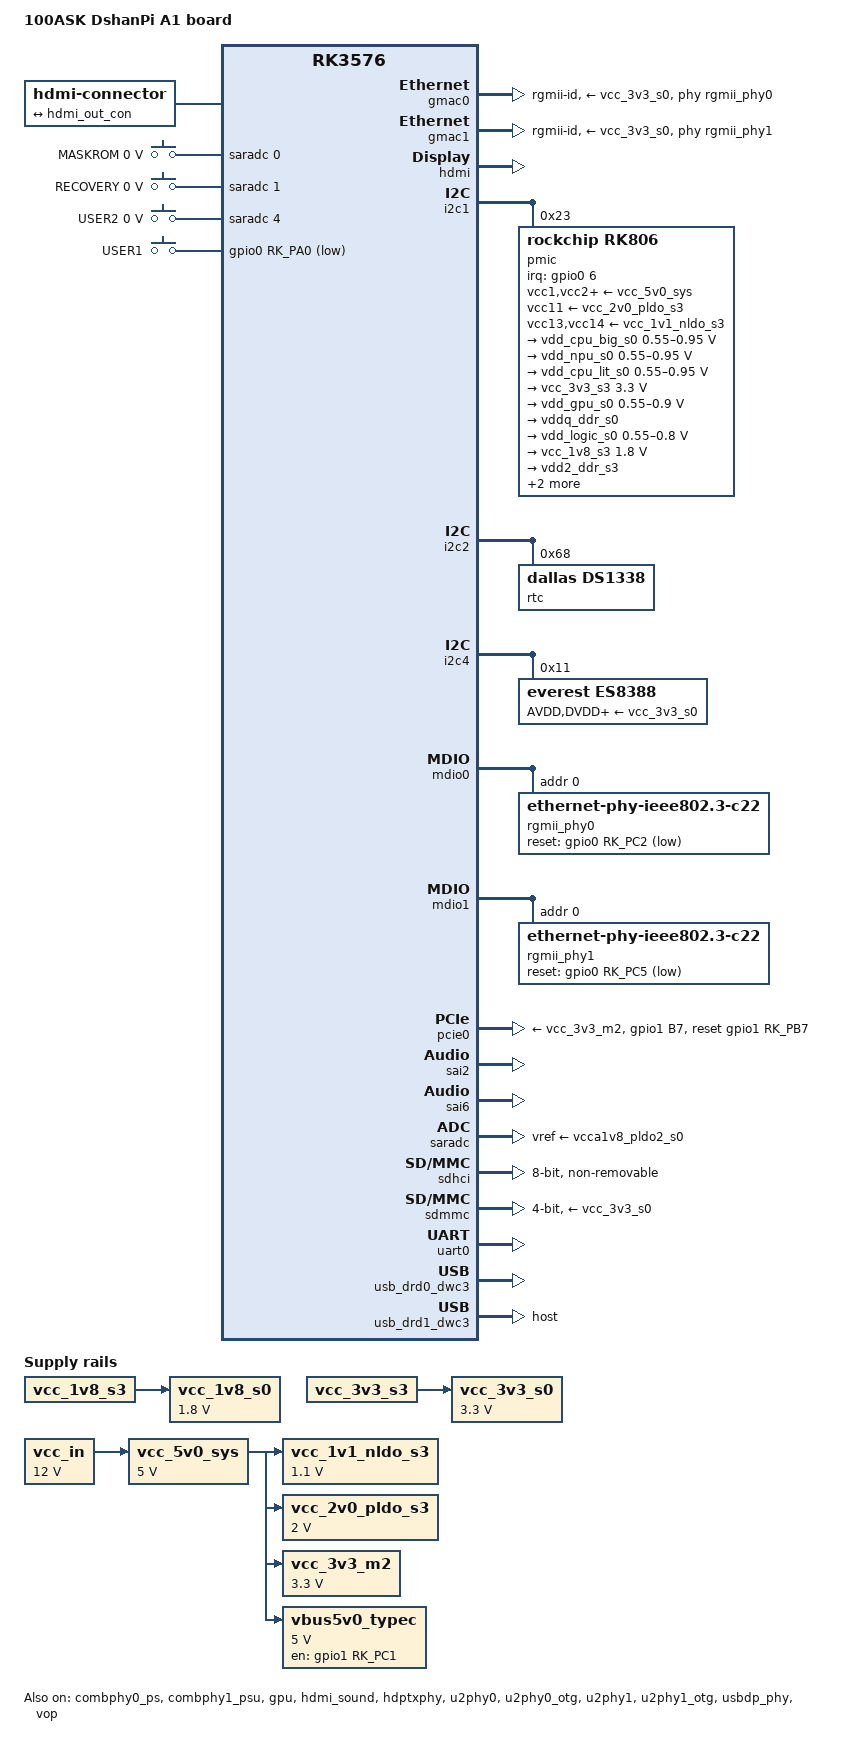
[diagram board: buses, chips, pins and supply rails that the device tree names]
// SPDX-License-Identifier: (GPL-2.0+ OR MIT)
/*
 * Copyright (c) 2025 Rockchip Electronics Co., Ltd.
 *
 */

/dts-v1/;

#include <dt-bindings/gpio/gpio.h>
#include <dt-bindings/input/input.h>
#include <dt-bindings/leds/common.h>
#include <dt-bindings/pinctrl/rockchip.h>
#include <dt-bindings/soc/rockchip,vop2.h>
#include "rk3576.dtsi"

/ {
	model = "100ASK DshanPi A1 board";
	compatible = "100ask,dshanpi-a1", "rockchip,rk3576";

	aliases {
		ethernet0 = &gmac0;
		ethernet1 = &gmac1;
		mmc0 = &sdhci;
		mmc1 = &sdmmc;
	};

	chosen {
		stdout-path = "serial0:1500000n8";
	};

	es8388_sound: es8388-sound {
		compatible = "simple-audio-card";
		simple-audio-card,format = "i2s";
		simple-audio-card,mclk-fs = <256>;
		simple-audio-card,name = "On-board Analog ES8388";
		simple-audio-card,widgets = "Microphone", "Headphone Mic",
					    "Microphone", "Mic Pads",
					    "Headphone", "Headphone",
					    "Line Out", "Line Out";
		simple-audio-card,routing = "Headphone", "LOUT1",
					    "Headphone", "ROUT1",
					    "Line Out", "LOUT2",
					    "Line Out", "ROUT2",
					    "RINPUT1", "Headphone Mic",
					    "LINPUT2", "Mic Pads",
					    "RINPUT2", "Mic Pads";
		simple-audio-card,pin-switches = "Headphone", "Line Out";

		simple-audio-card,cpu {
			sound-dai = <&sai2>;
		};

		simple-audio-card,codec {
			sound-dai = <&es8388>;
			system-clock-frequency = <12288000>;
		};
	};

	hdmi-con {
		compatible = "hdmi-connector";
		type = "a";

		port {
			hdmi_con_in: endpoint {
				remote-endpoint = <&hdmi_out_con>;
			};
		};
	};

	keys-0 {
		compatible = "adc-keys";
		io-channels = <&saradc 0>;
		io-channel-names = "buttons";
		keyup-threshold-microvolt = <1800000>;
		poll-interval = <100>;

		button-maskrom {
			label = "MASKROM";
			linux,code = <KEY_SETUP>;
			press-threshold-microvolt = <0>;
		};
	};

	keys-1 {
		compatible = "adc-keys";
		io-channels = <&saradc 1>;
		io-channel-names = "buttons";
		keyup-threshold-microvolt = <1800000>;
		poll-interval = <100>;

		button-recovery {
			label = "RECOVERY";
			linux,code = <KEY_VENDOR>;
			press-threshold-microvolt = <0>;
		};
	};

	keys-2 {
		compatible = "adc-keys";
		io-channels = <&saradc 4>;
		io-channel-names = "buttons";
		keyup-threshold-microvolt = <1800000>;
		poll-interval = <100>;

		button-user2 {
			label = "USER2";
			linux,code = <BTN_2>;
			press-threshold-microvolt = <0>;
		};
	};

	keys-3 {
		compatible = "gpio-keys";
		pinctrl-names = "default";
		pinctrl-0 = <&gpio0_a0_d>;

		button-user1 {
			gpios = <&gpio0 RK_PA0 GPIO_ACTIVE_LOW>;
			label = "USER1";
			linux,code = <BTN_1>;
			wakeup-source;
		};
	};

	vcc_in: regulator-vcc-12v0-dcin {
		compatible = "regulator-fixed";
		regulator-name = "vcc_in";
		regulator-always-on;
		regulator-boot-on;
		regulator-min-microvolt = <12000000>;
		regulator-max-microvolt = <12000000>;
	};

	vcc_1v1_nldo_s3: regulator-vcc-1v1-nldo-s3 {
		compatible = "regulator-fixed";
		regulator-name = "vcc_1v1_nldo_s3";
		regulator-always-on;
		regulator-boot-on;
		regulator-min-microvolt = <1100000>;
		regulator-max-microvolt = <1100000>;
		vin-supply = <&vcc_5v0_sys>;
	};

	vcc_1v8_s0: regulator-vcc-1v8-s0 {
		compatible = "regulator-fixed";
		regulator-name = "vcc_1v8_s0";
		regulator-always-on;
		regulator-boot-on;
		regulator-min-microvolt = <1800000>;
		regulator-max-microvolt = <1800000>;
		vin-supply = <&vcc_1v8_s3>;
	};

	vcc_2v0_pldo_s3: regulator-vcc-2v0-pldo-s3 {
		compatible = "regulator-fixed";
		regulator-name = "vcc_2v0_pldo_s3";
		regulator-always-on;
		regulator-boot-on;
		regulator-min-microvolt = <2000000>;
		regulator-max-microvolt = <2000000>;
		vin-supply = <&vcc_5v0_sys>;
	};

	vcc_3v3_m2: regulator-vcc-3v3-m2 {
		compatible = "regulator-fixed";
		regulator-name = "vcc_3v3_m2";
		regulator-always-on;
		regulator-boot-on;
		regulator-min-microvolt = <3300000>;
		regulator-max-microvolt = <3300000>;
		vin-supply = <&vcc_5v0_sys>;
	};

	vcc_3v3_s0: regulator-vcc-3v3-s0 {
		compatible = "regulator-fixed";
		regulator-name = "vcc_3v3_s0";
		regulator-always-on;
		regulator-boot-on;
		regulator-min-microvolt = <3300000>;
		regulator-max-microvolt = <3300000>;
		vin-supply = <&vcc_3v3_s3>;
	};

	vcc_5v0_sys: regulator-vcc-5v0-sys {
		compatible = "regulator-fixed";
		regulator-name = "vcc_5v0_sys";
		regulator-always-on;
		regulator-boot-on;
		regulator-min-microvolt = <5000000>;
		regulator-max-microvolt = <5000000>;
		vin-supply = <&vcc_in>;
	};

	vbus5v0_typec: regulator-vbus5v0-typec {
		compatible = "regulator-fixed";
		enable-active-high;
		gpios = <&gpio1 RK_PC1 GPIO_ACTIVE_HIGH>;
		pinctrl-names = "default";
		pinctrl-0 = <&typec5v_pwren_h>;
		regulator-name = "vbus5v0_typec";
		regulator-min-microvolt = <5000000>;
		regulator-max-microvolt = <5000000>;
		vin-supply = <&vcc_5v0_sys>;
	};
};

&combphy0_ps {
	status = "okay";
};

&combphy1_psu {
	status = "okay";
};

&cpu_b0 {
	cpu-supply = <&vdd_cpu_big_s0>;
};

&cpu_b1 {
	cpu-supply = <&vdd_cpu_big_s0>;
};

&cpu_b2 {
	cpu-supply = <&vdd_cpu_big_s0>;
};

&cpu_b3 {
	cpu-supply = <&vdd_cpu_big_s0>;
};

&cpu_l0 {
	cpu-supply = <&vdd_cpu_lit_s0>;
};

&cpu_l1 {
	cpu-supply = <&vdd_cpu_lit_s0>;
};

&cpu_l2 {
	cpu-supply = <&vdd_cpu_lit_s0>;
};

&cpu_l3 {
	cpu-supply = <&vdd_cpu_lit_s0>;
};

&gmac0 {
	clock_in_out = "output";
	phy-mode = "rgmii-id";
	phy-handle = <&rgmii_phy0>;
	phy-supply = <&vcc_3v3_s0>;
	pinctrl-names = "default";
	pinctrl-0 = <&eth0m0_miim
		     &eth0m0_tx_bus2
		     &eth0m0_rx_bus2
		     &eth0m0_rgmii_clk
		     &eth0m0_rgmii_bus>;
	status = "okay";
};

&gmac1 {
	clock_in_out = "output";
	phy-mode = "rgmii-id";
	phy-handle = <&rgmii_phy1>;
	phy-supply = <&vcc_3v3_s0>;
	pinctrl-names = "default";
	pinctrl-0 = <&eth1m0_miim
		     &eth1m0_tx_bus2
		     &eth1m0_rx_bus2
		     &eth1m0_rgmii_clk
		     &eth1m0_rgmii_bus>;
	status = "okay";
};

&gpu {
	mali-supply = <&vdd_gpu_s0>;
	status = "okay";
};

&hdmi {
	status = "okay";
};

&hdmi_in {
	hdmi_in_vp0: endpoint {
		remote-endpoint = <&vp0_out_hdmi>;
	};
};

&hdmi_out {
	hdmi_out_con: endpoint {
		remote-endpoint = <&hdmi_con_in>;
	};
};

&hdmi_sound {
	status = "okay";
};

&hdptxphy {
	status = "okay";
};

&i2c1 {
	status = "okay";

	pmic@23 {
		compatible = "rockchip,rk806";
		reg = <0x23>;
		gpio-controller;
		#gpio-cells = <2>;
		interrupt-parent = <&gpio0>;
		interrupts = <6 IRQ_TYPE_LEVEL_LOW>;
		pinctrl-names = "default";
		pinctrl-0 = <&pmic_pins
			     &rk806_dvs1_null
			     &rk806_dvs2_null
			     &rk806_dvs3_null>;
		system-power-controller;
		vcc1-supply = <&vcc_5v0_sys>;
		vcc2-supply = <&vcc_5v0_sys>;
		vcc3-supply = <&vcc_5v0_sys>;
		vcc4-supply = <&vcc_5v0_sys>;
		vcc5-supply = <&vcc_5v0_sys>;
		vcc6-supply = <&vcc_5v0_sys>;
		vcc7-supply = <&vcc_5v0_sys>;
		vcc8-supply = <&vcc_5v0_sys>;
		vcc9-supply = <&vcc_5v0_sys>;
		vcc10-supply = <&vcc_5v0_sys>;
		vcc11-supply = <&vcc_2v0_pldo_s3>;
		vcc12-supply = <&vcc_5v0_sys>;
		vcc13-supply = <&vcc_1v1_nldo_s3>;
		vcc14-supply = <&vcc_1v1_nldo_s3>;
		vcca-supply = <&vcc_5v0_sys>;

		rk806_dvs1_null: dvs1-null-pins {
			pins = "gpio_pwrctrl1";
			function = "pin_fun0";
		};

		rk806_dvs2_null: dvs2-null-pins {
			pins = "gpio_pwrctrl2";
			function = "pin_fun0";
		};

		rk806_dvs3_null: dvs3-null-pins {
			pins = "gpio_pwrctrl3";
			function = "pin_fun0";
		};

		rk806_dvs1_slp: dvs1-slp-pins {
			pins = "gpio_pwrctrl1";
			function = "pin_fun1";
		};

		rk806_dvs1_pwrdn: dvs1-pwrdn-pins {
			pins = "gpio_pwrctrl1";
			function = "pin_fun2";
		};

		rk806_dvs1_rst: dvs1-rst-pins {
			pins = "gpio_pwrctrl1";
			function = "pin_fun3";
		};

		rk806_dvs2_slp: dvs2-slp-pins {
			pins = "gpio_pwrctrl2";
			function = "pin_fun1";
		};

		rk806_dvs2_pwrdn: dvs2-pwrdn-pins {
			pins = "gpio_pwrctrl2";
			function = "pin_fun2";
		};

		rk806_dvs2_rst: dvs2-rst-pins {
			pins = "gpio_pwrctrl2";
			function = "pin_fun3";
		};

		rk806_dvs2_dvs: dvs2-dvs-pins {
			pins = "gpio_pwrctrl2";
			function = "pin_fun4";
		};

		rk806_dvs2_gpio: dvs2-gpio-pins {
			pins = "gpio_pwrctrl2";
			function = "pin_fun5";
		};

		rk806_dvs3_slp: dvs3-slp-pins {
			pins = "gpio_pwrctrl3";
			function = "pin_fun1";
		};

		rk806_dvs3_pwrdn: dvs3-pwrdn-pins {
			pins = "gpio_pwrctrl3";
			function = "pin_fun2";
		};

		rk806_dvs3_rst: dvs3-rst-pins {
			pins = "gpio_pwrctrl3";
			function = "pin_fun3";
		};

		rk806_dvs3_dvs: dvs3-dvs-pins {
			pins = "gpio_pwrctrl3";
			function = "pin_fun4";
		};

		rk806_dvs3_gpio: dvs3-gpio-pins {
			pins = "gpio_pwrctrl3";
			function = "pin_fun5";
		};

		regulators {
			vdd_cpu_big_s0: dcdc-reg1 {
				regulator-always-on;
				regulator-boot-on;
				regulator-min-microvolt = <550000>;
				regulator-max-microvolt = <950000>;
				regulator-ramp-delay = <12500>;
				regulator-name = "vdd_cpu_big_s0";
				regulator-enable-ramp-delay = <400>;
				regulator-state-mem {
					regulator-off-in-suspend;
				};
			};

			vdd_npu_s0: dcdc-reg2 {
				regulator-boot-on;
				regulator-min-microvolt = <550000>;
				regulator-max-microvolt = <950000>;
				regulator-ramp-delay = <12500>;
				regulator-name = "vdd_npu_s0";
				regulator-enable-ramp-delay = <400>;
				regulator-state-mem {
					regulator-off-in-suspend;
				};
			};

			vdd_cpu_lit_s0: dcdc-reg3 {
				regulator-always-on;
				regulator-boot-on;
				regulator-min-microvolt = <550000>;
				regulator-max-microvolt = <950000>;
				regulator-ramp-delay = <12500>;
				regulator-name = "vdd_cpu_lit_s0";
				regulator-state-mem {
					regulator-off-in-suspend;
					regulator-suspend-microvolt = <750000>;
				};
			};

			vcc_3v3_s3: dcdc-reg4 {
				regulator-always-on;
				regulator-boot-on;
				regulator-min-microvolt = <3300000>;
				regulator-max-microvolt = <3300000>;
				regulator-name = "vcc_3v3_s3";
				regulator-state-mem {
					regulator-on-in-suspend;
					regulator-suspend-microvolt = <3300000>;
				};
			};

			vdd_gpu_s0: dcdc-reg5 {
				regulator-boot-on;
				regulator-min-microvolt = <550000>;
				regulator-max-microvolt = <900000>;
				regulator-ramp-delay = <12500>;
				regulator-name = "vdd_gpu_s0";
				regulator-enable-ramp-delay = <400>;
				regulator-state-mem {
					regulator-off-in-suspend;
					regulator-suspend-microvolt = <850000>;
				};
			};

			vddq_ddr_s0: dcdc-reg6 {
				regulator-always-on;
				regulator-boot-on;
				regulator-name = "vddq_ddr_s0";
				regulator-state-mem {
					regulator-off-in-suspend;
				};
			};

			vdd_logic_s0: dcdc-reg7 {
				regulator-always-on;
				regulator-boot-on;
				regulator-min-microvolt = <550000>;
				regulator-max-microvolt = <800000>;
				regulator-name = "vdd_logic_s0";
				regulator-state-mem {
					regulator-off-in-suspend;
				};
			};

			vcc_1v8_s3: dcdc-reg8 {
				regulator-always-on;
				regulator-boot-on;
				regulator-min-microvolt = <1800000>;
				regulator-max-microvolt = <1800000>;
				regulator-name = "vcc_1v8_s3";
				regulator-state-mem {
					regulator-on-in-suspend;
					regulator-suspend-microvolt = <1800000>;
				};
			};

			vdd2_ddr_s3: dcdc-reg9 {
				regulator-always-on;
				regulator-boot-on;
				regulator-name = "vdd2_ddr_s3";
				regulator-state-mem {
					regulator-on-in-suspend;
				};
			};

			vdd_ddr_s0: dcdc-reg10 {
				regulator-always-on;
				regulator-boot-on;
				regulator-min-microvolt = <550000>;
				regulator-max-microvolt = <1200000>;
				regulator-name = "vdd_ddr_s0";
				regulator-state-mem {
					regulator-off-in-suspend;
				};
			};

			vcca_1v8_s0: pldo-reg1 {
				regulator-always-on;
				regulator-boot-on;
				regulator-min-microvolt = <1800000>;
				regulator-max-microvolt = <1800000>;
				regulator-name = "vcca_1v8_s0";
				regulator-state-mem {
					regulator-off-in-suspend;
				};
			};

			vcca1v8_pldo2_s0: pldo-reg2 {
				regulator-always-on;
				regulator-boot-on;
				regulator-min-microvolt = <1800000>;
				regulator-max-microvolt = <1800000>;
				regulator-name = "vcca1v8_pldo2_s0";
				regulator-state-mem {
					regulator-off-in-suspend;
				};
			};

			vdda_1v2_s0: pldo-reg3 {
				regulator-always-on;
				regulator-boot-on;
				regulator-min-microvolt = <1200000>;
				regulator-max-microvolt = <1200000>;
				regulator-name = "vdda_1v2_s0";
				regulator-state-mem {
					regulator-off-in-suspend;
				};
			};

			vcca_3v3_s0: pldo-reg4 {
				regulator-always-on;
				regulator-boot-on;
				regulator-min-microvolt = <3300000>;
				regulator-max-microvolt = <3300000>;
				regulator-name = "vcca_3v3_s0";
				regulator-state-mem {
					regulator-off-in-suspend;
				};
			};

			vccio_sd_s0: pldo-reg5 {
				regulator-always-on;
				regulator-boot-on;
				regulator-min-microvolt = <1800000>;
				regulator-max-microvolt = <3300000>;
				regulator-name = "vccio_sd_s0";
				regulator-state-mem {
					regulator-off-in-suspend;
				};
			};

			vcca1v8_pldo6_s3: pldo-reg6 {
				regulator-always-on;
				regulator-boot-on;
				regulator-min-microvolt = <1800000>;
				regulator-max-microvolt = <1800000>;
				regulator-name = "vcca1v8_pldo6_s3";
				regulator-state-mem {
					regulator-on-in-suspend;
					regulator-suspend-microvolt = <1800000>;
				};
			};

			vdd_0v75_s3: nldo-reg1 {
				regulator-always-on;
				regulator-boot-on;
				regulator-min-microvolt = <750000>;
				regulator-max-microvolt = <750000>;
				regulator-name = "vdd_0v75_s3";
				regulator-state-mem {
					regulator-on-in-suspend;
					regulator-suspend-microvolt = <750000>;
				};
			};

			vdda_ddr_pll_s0: nldo-reg2 {
				regulator-always-on;
				regulator-boot-on;
				regulator-min-microvolt = <850000>;
				regulator-max-microvolt = <850000>;
				regulator-name = "vdda_ddr_pll_s0";
				regulator-state-mem {
					regulator-off-in-suspend;
				};
			};

			vdda0v75_hdmi_s0: nldo-reg3 {
				regulator-always-on;
				regulator-boot-on;
				regulator-min-microvolt = <837500>;
				regulator-max-microvolt = <837500>;
				regulator-name = "vdda0v75_hdmi_s0";
				regulator-state-mem {
					regulator-off-in-suspend;
				};
			};

			vdda_0v85_s0: nldo-reg4 {
				regulator-always-on;
				regulator-boot-on;
				regulator-min-microvolt = <850000>;
				regulator-max-microvolt = <850000>;
				regulator-name = "vdda_0v85_s0";
				regulator-state-mem {
					regulator-off-in-suspend;
				};
			};

			vdda_0v75_s0: nldo-reg5 {
				regulator-always-on;
				regulator-boot-on;
				regulator-min-microvolt = <750000>;
				regulator-max-microvolt = <750000>;
				regulator-name = "vdda_0v75_s0";
				regulator-state-mem {
					regulator-off-in-suspend;
				};
			};
		};
	};
};

&i2c2 {
	status = "okay";

	rtc@68 {
		compatible = "dallas,ds1338";
		reg = <0x68>;
	};
};

&i2c4 {
	status = "okay";

	es8388: audio-codec@11 {
		compatible = "everest,es8388", "everest,es8328";
		reg = <0x11>;
		clocks = <&cru CLK_SAI2_MCLKOUT_TO_IO>;
		assigned-clocks = <&cru CLK_SAI2_MCLKOUT_TO_IO>;
		assigned-clock-rates = <12288000>;
		AVDD-supply = <&vcc_3v3_s0>;
		DVDD-supply = <&vcc_3v3_s0>;
		HPVDD-supply = <&vcc_3v3_s0>;
		PVDD-supply = <&vcc_3v3_s0>;
		pinctrl-names = "default";
		pinctrl-0 = <&sai2m0_mclk>;
		#sound-dai-cells = <0>;
	};
};

&mdio0 {
	rgmii_phy0: phy@0 {
		compatible = "ethernet-phy-ieee802.3-c22";
		reg = <0>;
		pinctrl-names = "default";
		pinctrl-0 = <&gmac0_rst>;
		reset-assert-us = <20000>;
		reset-deassert-us = <100000>;
		reset-gpios = <&gpio0 RK_PC2 GPIO_ACTIVE_LOW>;
	};
};

&mdio1 {
	rgmii_phy1: phy@0 {
		compatible = "ethernet-phy-ieee802.3-c22";
		reg = <0>;
		pinctrl-names = "default";
		pinctrl-0 = <&gmac1_rst>;
		reset-assert-us = <20000>;
		reset-deassert-us = <100000>;
		reset-gpios = <&gpio0 RK_PC5 GPIO_ACTIVE_LOW>;
	};
};

&pcie0 {
	pinctrl-names = "default";
	pinctrl-0 = <&pcie_reset>;
	reset-gpios = <&gpio1 RK_PB7 GPIO_ACTIVE_HIGH>;
	vpcie3v3-supply = <&vcc_3v3_m2>;
	status = "okay";
};

&pinctrl {
	gmac {
		gmac0_rst: gmac0-rst {
			rockchip,pins = <0 RK_PC2 RK_FUNC_GPIO &pcfg_pull_none>;
		};

		gmac1_rst: gmac1-rst {
			rockchip,pins = <0 RK_PC5 RK_FUNC_GPIO &pcfg_pull_none>;
		};
	};

	gpio-keys {
		gpio0_a0_d: gpio0-a0-d {
			rockchip,pins = <0 RK_PA0 RK_FUNC_GPIO &pcfg_pull_up>;
		};
	};

	headphone {
		hp_det: hp-det {
			rockchip,pins = <0 RK_PA2 RK_FUNC_GPIO &pcfg_pull_none>;
		};
	};

	pcie {
		pcie_reset: pcie-reset {
			rockchip,pins = <1 RK_PB7 RK_FUNC_GPIO &pcfg_pull_none>;
		};
	};

	usb {
		typec5v_pwren_h: typec5v-pwren-h {
			rockchip,pins = <1 RK_PC1 RK_FUNC_GPIO &pcfg_pull_none>;
		};
	};
};

&sai2 {
	status = "okay";
};

&sai6 {
	status = "okay";
};

&saradc {
	vref-supply = <&vcca1v8_pldo2_s0>;
	status = "okay";
};

&sdhci {
	bus-width = <8>;
	full-pwr-cycle-in-suspend;
	mmc-hs400-1_8v;
	mmc-hs400-enhanced-strobe;
	no-sdio;
	no-sd;
	non-removable;
	status = "okay";
};

&sdmmc {
	bus-width = <4>;
	cap-mmc-highspeed;
	cap-sd-highspeed;
	disable-wp;
	sd-uhs-sdr104;
	vmmc-supply = <&vcc_3v3_s0>;
	vqmmc-supply = <&vccio_sd_s0>;
	status = "okay";
};

&u2phy0 {
	status = "okay";
};

&u2phy0_otg {
	phy-supply = <&vbus5v0_typec>;
	status = "okay";
};

&u2phy1 {
	status = "okay";
};

&u2phy1_otg {
	phy-supply = <&vcc_5v0_sys>;
	status = "okay";
};

&uart0 {
	pinctrl-0 = <&uart0m0_xfer>;
	status = "okay";
};

&usbdp_phy {
	status = "okay";
};

&usb_drd0_dwc3 {
	status = "okay";
};

&usb_drd1_dwc3 {
	dr_mode = "host";
	status = "okay";
};

&vop {
	status = "okay";
};

&vop_mmu {
	status = "okay";
};

&vp0 {
	vp0_out_hdmi: endpoint@ROCKCHIP_VOP2_EP_HDMI0 {
		reg = <ROCKCHIP_VOP2_EP_HDMI0>;
		remote-endpoint = <&hdmi_in_vp0>;
	};
};
